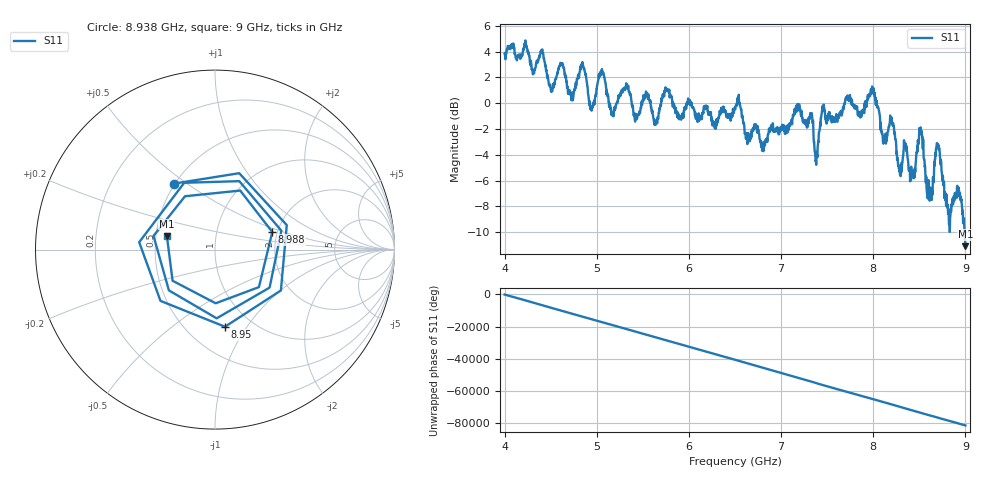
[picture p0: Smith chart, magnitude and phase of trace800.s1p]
! Created with skrf 1.8.0 (http://scikit-rf.org).
# Hz S RI R 50.0
!freq ReS11 ImS11
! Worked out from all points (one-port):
!   1601 points, 4 GHz to 9 GHz, reference 50 ohm
!   lowest |S11| = -11.1 dB at 9 GHz (marker M1), VSWR 1.77, Z = 28.6 + j4.74 ohm
!   |S11| at or under -10 dB: 8.991719 GHz to end of sweep
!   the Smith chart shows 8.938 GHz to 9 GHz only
!   S11 on the Smith chart (normalised r, x): 8.938 GHz: 0.49, +0.45; 8.95 GHz: 0.75, -0.80; 8.988 GHz: 1.88, +0.42; 9 GHz: 0.57, +0.09
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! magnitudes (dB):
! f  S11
! 4 GHz  3.8
! 4.506 GHz  0.9
! 4.625 GHz  3.1
! 4.722 GHz  0.7
! 4.85 GHz  3.0
! 4.941 GHz  -0.4
! 5.047 GHz  2.5
! 5.159 GHz  -0.9
! 5.25 GHz  0.6
! 5.875 GHz  -1.1
! 6.5 GHz  -0.4
! 6.8 GHz  -3.5
! 7.125 GHz  -1.2
! 7.322 GHz  -0.8
! 7.381 GHz  -4.8
! 7.45 GHz  -0.2
! 7.75 GHz  0.5
! 7.994 GHz  0.8
! 8.112 GHz  -3.1
! 8.375 GHz  -4.3
! 8.519 GHz  -2.3
! 8.609 GHz  -7.1
! 8.7 GHz  -3.4
! 8.812 GHz  -8.6
! 8.938 GHz  -7.3
! 8.95 GHz  -7.3
! 8.988 GHz  -9.5
! 9 GHz  -11.1
